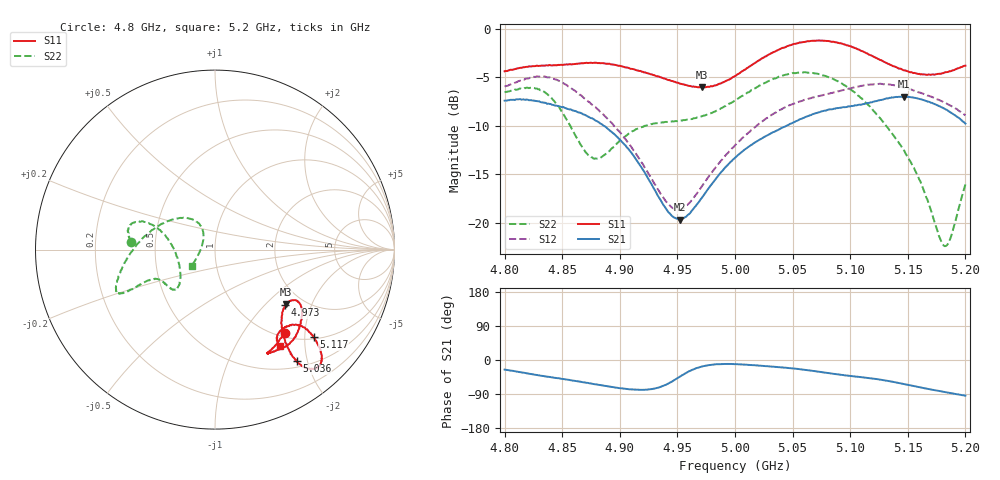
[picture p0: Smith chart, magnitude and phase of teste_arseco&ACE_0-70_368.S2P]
! Network Analyzer HP8722D
! Hewlett-Packard
! Data name: Linha & Wilkinson
! Saver's name: Rodrigo Anjos
! Comments: Teste da utilização de aquisição
! continua pelo VNA HP8722D
! Time and date: 8/5/2025 15:49
!  Frequency  S11  S21  S12  S22
# HZ  S  MA R 50
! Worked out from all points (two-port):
!   401 points, 4.8 GHz to 5.2 GHz, reference 50 ohm
!   highest |S21| = -6.99 dB at 5.147 GHz (marker M1); lowest = -19.7 dB at 4.952 GHz (marker M2)
!   |S21| within 3 dB of the highest: start of sweep to 4.886 GHz; 5.045 GHz to end of sweep
!   lowest |S11| = -6.0 dB at 4.971 GHz (marker M3), VSWR 2.99, Z = 81.8 - j66.4 ohm
!   |S11| at or under -10 dB: nowhere
!   |S22| runs from -22.4 to -4.5 dB; largest |S21 - S12| = 0.97
!   S11 on the Smith chart (normalised r, x): 4.8 GHz: 1.08, -1.57; 4.973 GHz: 1.61, -1.33; 5.036 GHz: 0.59, -1.82; 5.117 GHz: 1.05, -2.21; 5.2 GHz: 0.84, -1.54
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4.8e9  0.6043 -50.0  0.4263 -25.3  0.5035 179.7  0.4715 174.9
4.821e9  0.6409 -60.6  0.4289 -36.1  0.5558 171.5  0.4949 166.6
4.835e9  0.6465 -63.3  0.4149 -43.2  0.568 163.4  0.471 161.0
4.849e9  0.653 -61.6  0.3958 -49.5  0.5317 154.7  0.3791 158.4
4.867e9  0.6642 -55.7  0.3665 -58.0  0.4505 146.2  0.248 172.5
4.881e9  0.6659 -50.9  0.332 -65.1  0.384 141.4  0.2148 -160.8
4.902e9  0.6403 -42.9  0.2617 -75.0  0.284 136.1  0.2699 -136.7
4.934e9  0.568 -32.8  0.135 -72.4  0.146 144.8  0.3267 -138.4
4.952e9  0.5226 -32.6  0.1039 -44.3  0.1167 173.6  0.3374 -145.4
4.971e9  0.4986 -37.7  0.1339 -17.6  0.1534 -159.7  0.354 -152.1
4.973e9  0.4993 -38.4  0.139 -16.0  0.1596 -158.1  0.3573 -152.4
5e9  0.5707 -49.4  0.2163 -11.0  0.2511 -149.3  0.4283 -155.3
5.036e9  0.7717 -53.8  0.2986 -18.4  0.3715 -151.2  0.5584 -154.7
5.067e9  0.8682 -49.6  0.3623 -28.5  0.4422 -158.5  0.5925 -158.8
5.094e9  0.8347 -44.6  0.3948 -39.8  0.4834 -166.4  0.5171 -170.2
5.117e9  0.734 -41.6  0.4164 -48.0  0.5161 -177.7  0.3983 169.1
5.134e9  0.6568 -41.2  0.441 -55.7  0.5165 172.2  0.3005 147.3
5.147e9  0.6112 -43.3  0.4473 -63.6  0.4982 164.9  0.2349 131.5
5.165e9  0.5814 -49.0  0.4268 -74.9  0.4588 156.9  0.1412 120.9
5.182e9  0.5967 -54.5  0.3872 -84.6  0.4175 151.2  0.07569 160.0
5.187e9  0.6049 -55.4  0.3718 -87.5  0.4028 149.6  0.08309 -175.3
5.2e9  0.6461 -56.0  0.3245 -94.2  0.3581 145.9  0.1575 -145.4
